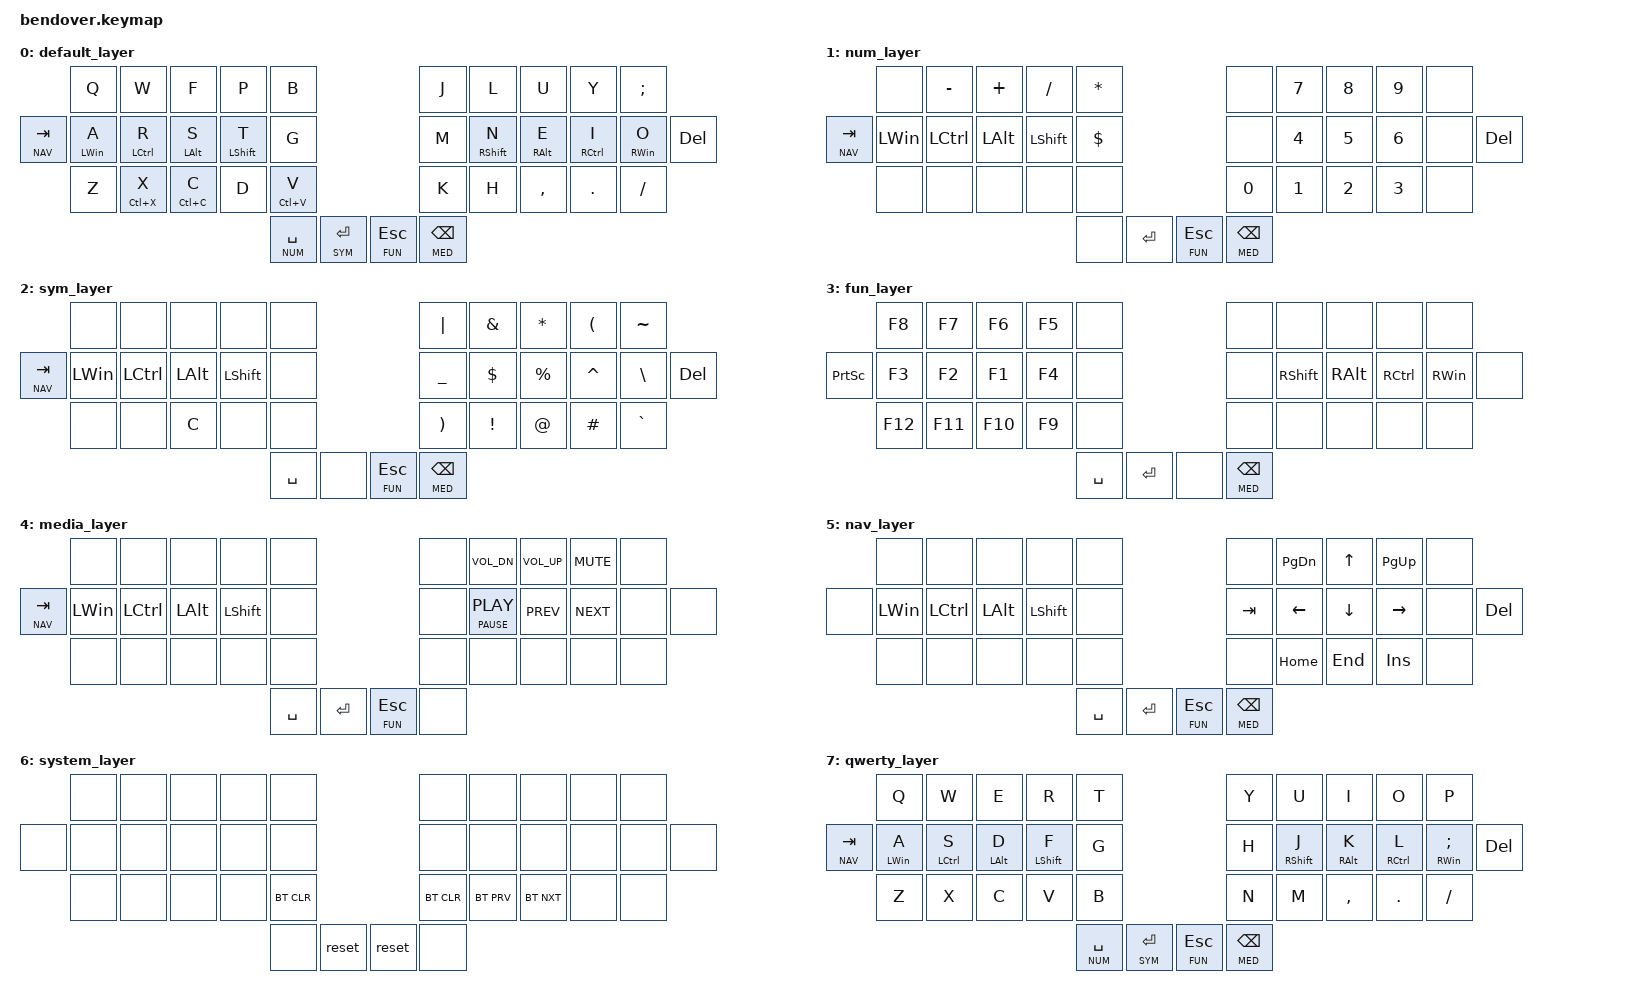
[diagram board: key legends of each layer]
/*
 * Copyright (c) 2020 The ZMK Contributors
 *
 * SPDX-License-Identifier: MIT
 */

#include <behaviors.dtsi>
#include <dt-bindings/zmk/keys.h>
#include <dt-bindings/zmk/bt.h>
/* #include <dt-bindings/zmk/output.h> */

/* Layers */
#define DEF 0
#define NUM 1
#define SYM 2
#define FUN 3
#define MED 4
#define NAV 5
#define SYS 6
#define QWT 7

/* custom combo's */
#define X_CUT       LC(X)
#define X_COPY      LC(C)
#define X_PAST      LC(V)

/ { 
    combos {
        compatible = "zmk,combos";
        combo_lbrc {
            timeout-ms = <30>;
	    key-positions = <1 2>;
            bindings = <&kp LBRC>;
            layers = <0 7>;
        };
        combo_lbkt {
            timeout-ms = <30>;
	    key-positions = <12 13>;
            bindings = <&kp LBKT>;
            layers = <0 7>;
        };
        combo_lpar {
            timeout-ms = <30>;
	    key-positions = <23 24>;
            bindings = <&kp LPAR>;
            layers = <0 7>;
        };
        combo_rbrc {
            timeout-ms = <30>;
	    key-positions = <2 3>;
            bindings = <&kp RBRC>;
            layers = <0 7>;
        };
        combo_rbkt {
            timeout-ms = <30>;
	    key-positions = <13 14>;
            bindings = <&kp RBKT>;
            layers = <0 7>;
        };
        combo_rpar {
            timeout-ms = <30>;
	    key-positions = <24 25>;
            bindings = <&kp RPAR>;
            layers = <0 7>;
        };
        combo_equal {
            timeout-ms = <30>;
	    key-positions = <7 8>;
            bindings = <&kp EQUAL>;
            layers = <0 7>;
        };
        combo_bslsh {
            timeout-ms = <30>;
	    key-positions = <18 19>;
            bindings = <&kp BSLH>;
            layers = <0 7>;
        };
        combo_dquote {
            timeout-ms = <30>;
	    key-positions = <29 30>;
            bindings = <&kp DQT>;
            layers = <0 7>;
        };
        combo_minus {
            timeout-ms = <30>;
	    key-positions = <6 7>;
            bindings = <&kp MINUS>;
            layers = <0 7>;
        };
        combo_under {
            timeout-ms = <30>;
	    key-positions = <17 18>;
            bindings = <&kp UNDER>;
            layers = <0 7>;
        };
        combo_apos {
            timeout-ms = <30>;
	    key-positions = <28 29>;
            bindings = <&kp SQT>;
            layers = <0 7>;
        };
        combo_syslyr {
            timeout-ms = <30>;
	    key-positions = <10 21>;
            bindings = <&tog SYS>;
        };
         combo_boot_left{
            timeout-ms = <30>;
	    key-positions = <3 4>;
            bindings = <&bootloader>;
            layers = <SYS>;
        };
         combo_boot_right{
            timeout-ms = <30>;
	    key-positions = <5 6>;
            bindings = <&bootloader>;
            layers = <SYS>;
        };
        combo_qwrtylyr {
            timeout-ms = <30>;
	    key-positions = <15 16>;
            bindings = <&tog QWT>;
            layers = <0 7>;
        };
        combo_caps {
            timeout-ms = <30>;
	    key-positions = <14 17>;
            bindings = <&kp CAPS>;
            layers = <0 7>;
        };

    };

behaviors {
        hm: homerow_mods {
            compatible = "zmk,behavior-hold-tap";
            label = "HOMEROW_MODS";
            #binding-cells = <2>;
            tapping_term_ms = <300>;
            quick-tap-ms = <0>;
            flavor = "tap-preferred";                
            bindings = <&kp>, <&kp>;
            };
        };

keymap {
                compatible = "zmk,keymap";

default_layer {
// LAYER 0----------------------------------------------------------------------------------
//        |  Q  |  W  |  F  |  P  |  B  |                   |  J  |  L   |  U  |  Y  |  ;  | 
// | NAV  |  A  |  R  |  S  |  T  |  G  |                   |  M  |  N   |  E  |  I  |  O  | DEL |
//        |  Z  |  X  |  C  |  D  |  V  |                   |  K  |  H   |  ,  |  .  |  /  | 
//                                | SPC | ENT |       | ESC | BSPC MED| 

bindings = <
                &kp Q        &kp W        &kp F        &kp P        &kp B                                      &kp J    &kp L        &kp U      &kp Y       &kp SEMI  
   &lt NAV TAB  &hm LWIN A   &hm LCTRL R  &hm LALT S   &hm LSHIFT T &kp G                                      &kp M    &hm RSHIFT N &hm RALT E &hm RCTRL I &hm RWIN O  &kp DEL
                &kp Z        &hm X_CUT X  &hm X_COPY C &kp D        &hm X_PAST V                               &kp K    &kp H        &kp COMMA  &kp DOT     &kp FSLH 
                                                                    &lt NUM SPACE  &lt SYM RET     &lt FUN ESC &lt MED BSPC
>; 
};


num_layer {
// LAYER 1---------------------------------------------------------------------------------
//        |     |  -  |  +  |  /  |  *  |                   |     |  7  |  8  |  9  |     | 
// | NAV  | SPC | CTL | ALT |SHIFT|  $  |                   |     |  4  |  5  |  6  | SPC | DEL |
//        |     |     |     |     |     |                   |  0  |  1  |  2  |  3  |     | 
//                                |     | ENT |       | ESC | BSPC MED| 

bindings = <
                 &none        &kp MINUS     &kp PLUS     &kp FSLH    &kp STAR                        &none   &kp N7   &kp N8   &kp N9   &none    
   &lt NAV TAB   &kp LWIN     &kp LCTRL     &kp LALT     &kp LSHIFT  &kp DLLR                        &none   &kp N4   &kp N5   &kp N6   &none  &kp DEL
                 &none        &none         &none        &none       &none                           &kp N0  &kp N1   &kp N2   &kp N3   &none 
                                                                     &none  &kp RET      &lt FUN ESC &lt MED BSPC
>;
};
        

sym_layer {
// LAYER 2----------------------------------------------------------------------------------
//          |     |     |     |     |     |                   |  |  |  &  |  *  |  (  |  ~  |
// | TAB NAV| WIN | CTL | ALT |SHIFT|     |                   |  _  |  $  |  %  |  ^  |  \  | DEL |
//          |     |     |     |     |     |                   |  )  |  !  |  @  |  #  |  `  | 
//                                  | SPC |     |       | ESC | BSPC MED | 

bindings = <
                &none    &none      &none     &none       &none                           &kp PIPE   &kp AMPS   &kp STAR   &kp LPAR  &kp TILDE   
   &lt NAV TAB  &kp LWIN &kp LCTRL  &kp LALT  &kp LSHIFT  &none                           &kp UNDER  &kp DLLR   &kp PRCNT  &kp CARET &kp BSLH  &kp DEL
                &none    &none      &kp C     &none       &none                           &kp RPAR   &kp EXCL   &kp AT     &kp HASH  &kp GRAVE
                                                          &kp SPACE  &none    &lt FUN ESC &lt MED BSPC
>;
};
           
                
fun_layer {
// LAYER 3----------------------------------------------------------------------------------
//        | F12 | F11 | F10 | F9  |     |                   |     |     |     |     |     | 
// | PSCRN| F8  | F7  | F6  | F5  |     |                   |     |SHIFT| ALT | CTRL| WIN |    |
//        | F4  | F3  | F2  | F1  |     |                   |     |     |     |     |     | 
//                                | SPC | ENT |       | ESC | BSPC MED | 

bindings = <
              &kp F8   &kp F7   &kp F6   &kp F5  &none                              &none  &none      &none     &none     &none   
   &kp PSCRN  &kp F3   &kp F2   &kp F1   &kp F4  &none                              &none  &kp RSHIFT &kp RALT  &kp RCTRL &kp RWIN  &none  
              &kp F12  &kp F11  &kp F10  &kp F9  &none                              &none  &none      &none     &none     &none
                                                 &kp SPACE  &kp RET          &none  &lt MED BSPC
>;
};     


media_layer {
// LAYER 4----------------------------------------------------------------------------------
//        |     |     |     |     |     |                   |     | VDWN| VUP | MUTE|     | 
// | TAB  | WIN | CTRL| ALT |SHIFT|     |                   |     | PLAY| PREV| NXT |     |     |
//        |     |     |     |     |     |                   |     |     |     |     |     | 
//                                | SPC | ENT |       | ESC |     |  


bindings = <
                  &none     &none      &none     &none      &none                           &none    &kp C_VOL_DN        &kp C_VOL_UP  &kp C_MUTE  &none    
     &lt NAV TAB  &kp LWIN  &kp LCTRL  &kp LALT  &kp LSHIFT &none                           &none    &hm C_PAUSE C_PLAY  &kp C_PREV    &kp C_NEXT  &none  &none
                  &none     &none      &none     &none      &none                           &none    &none               &none         &none       &none 
                                                            &kp SPACE &kp RET   &lt FUN ESC &none
>;
};


nav_layer {
// LAYER 5----------------------------------------------------------------------------------
//        |     |     |     |     |     |                   |     | PGDN|  ↑  | PGUP|     | 
// |      | WIN | CTRL| ALT |SHIFT|     |                   | TAB |   ← |  ↓  |  →  |     |  DEL  |
//        |     |     |     |     |     |                   |     | HOME| END | INS |     | 
//                                | SPC | ENT |       | ESC | BSPC MED |  


bindings = <
             &none     &none      &none     &none      &none                           &none     &kp PG_DN   &kp UP     &kp PG_UP   &none    
     &none   &kp LWIN  &kp LCTRL  &kp LALT  &kp LSHIFT &none                           &kp TAB   &kp LEFT    &kp DOWN   &kp RIGHT   &none  &kp DEL
             &none     &none      &none     &none      &none                           &none     &kp HOME    &kp END    &kp INS     &none 
                                                       &kp SPACE &kp RET   &lt FUN ESC &lt MED BSPC
>;
};


system_layer {
// LAYER 6----------------------------------------------------------------------------------
//       |     |     |     | BOOT| BOOT|                   |BOOT |BOOT |    |    |    | 
// | BT  |     |     |     |  BLE|  USB|                   |USB  |BLE  |    |    |    | BT |
//       |     |     |     |     |BTCLR|                   |BTCLR|  P0 | P1 | P2 |    | 
//                               |     |RESET|       |RESET|     |  
//  BOOT is defined under Combos at the top

bindings = <
            &none     &none      &none     &none            &none                           &none           &none         &none         &none         &none    
     &none  &none     &none      &none     &none            &none                           &none           &none         &none         &none         &none   &none
            &none     &none      &none     &none            &bt BT_CLR                      &bt BT_CLR      &bt BT_PRV    &bt BT_NXT    &none         &none 
                                                            &none   &reset          &reset  &none
>;
};


qwerty_layer {
// LAYER 7----------------------------------------------------------------------------------
//          |  Q  |  W  |  E  |  R  |  T  |                   |  Y  |  U  |  I  |  O  |  P  | 
// |TAB NAV |  A  |  S  |  D  |  F  |  G  |                   |  H  |  J  |  K  |  L  |  ;  |  BKSPC  |
//          |  Z  |  X  |  C  |  V  |  D  |                   |  N  |  M  |  ,  |  .  |  /  | 
//                                  | SPC | ENT |       | ESC | MED| 

bindings = <
                &kp Q        &kp W        &kp E       &kp R         &kp T                                      &kp Y    &kp U         &kp I      &kp O       &kp P  
   &lt NAV TAB  &hm LWIN A   &hm LCTRL S  &hm LALT D  &hm LSHIFT F  &kp G                                      &kp H    &hm RSHIFT J  &hm RALT K &hm RCTRL L &hm RWIN SEMI  &kp DEL
                &kp Z        &kp X        &kp C       &kp V         &kp B                                      &kp N    &kp M         &kp COMMA  &kp DOT     &kp FSLH 
                                                                    &lt NUM SPACE  &lt SYM RET     &lt FUN ESC &lt MED BSPC
>; 
};


};
};

